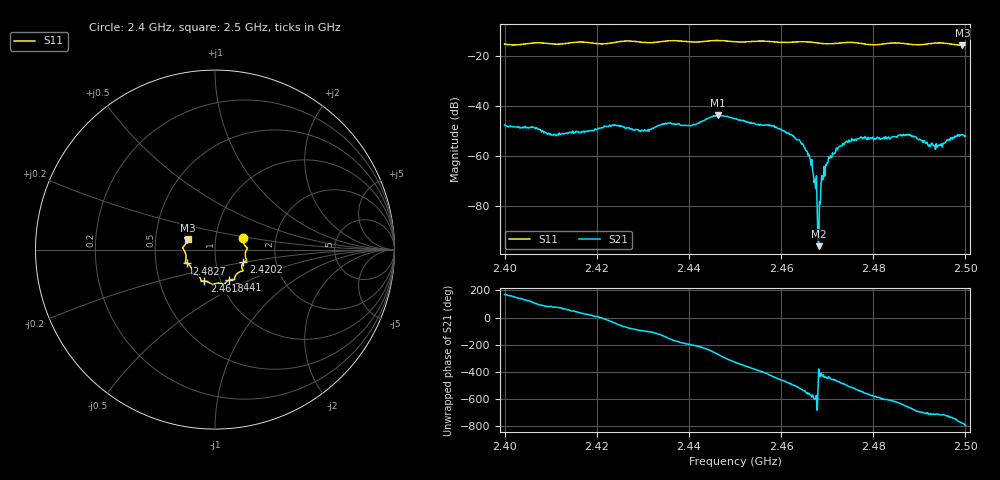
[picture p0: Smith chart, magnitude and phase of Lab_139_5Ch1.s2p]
# Hz S RI R 50
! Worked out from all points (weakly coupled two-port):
!   601 points, 2.4 GHz to 2.5 GHz, reference 50 ohm
!   highest |S21| = -43.64 dB at 2.4463 GHz (marker M1); lowest = -95.8 dB at 2.4682 GHz (marker M2)
!   lowest |S11| = -15.8 dB at 2.4993 GHz (marker M3), VSWR 1.39, Z = 36.5 + j3.82 ohm
!   |S11| at or under -10 dB: start of sweep to end of sweep
!   S12 and S22 are empty: the file has one direction only
!   S11 on the Smith chart (normalised r, x): 2.4 GHz: 1.36, +0.18; 2.4202 GHz: 1.36, -0.20; 2.441 GHz: 1.10, -0.39; 2.4618 GHz: 0.84, -0.30; 2.4827 GHz: 0.72, -0.11; 2.5 GHz: 0.73, +0.09
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2.4e9  0.1584 0.0626  -0.00412 0.000781  0 0  0 0
2.410667e9  0.1704 -0.0128  0.000571 0.00259  0 0  0 0
2.416667e9  0.1771 -0.061  0.00262 0.00157  0 0  0 0
2.420167e9  0.1586 -0.0712  0.00339 0.000384  0 0  0 0
2.433333e9  0.1115 -0.1508  -0.00217 -0.0035  0 0  0 0
2.441e9  0.0787 -0.1697  -0.00389 0.00172  0 0  0 0
2.446333e9  0.0492 -0.1954  2.78e-05 0.00658  0 0  0 0
2.45e9  0.0286 -0.1873  0.00478 0.0029  0 0  0 0
2.461833e9  -0.0592 -0.1754  -0.00148 -0.00228  0 0  0 0
2.4645e9  -0.0751 -0.1748  -0.00171 -0.000344  0 0  0 0
2.466667e9  -0.0787 -0.1683  -0.000607 0.000609  0 0  0 0
2.467667e9  -0.0808 -0.1617  -0.000345 0.000218  0 0  0 0
2.468167e9  -0.0829 -0.1581  1.54e-05 -4.98e-06  0 0  0 0
2.470167e9  -0.0967 -0.143  6.16e-05 -0.000738  0 0  0 0
2.4725e9  -0.117 -0.1349  -0.000562 -0.00144  0 0  0 0
2.477e9  -0.1271 -0.1243  -0.00228 3.59e-05  0 0  0 0
2.482667e9  -0.1558 -0.077  -0.00115 0.00218  0 0  0 0
2.483333e9  -0.1602 -0.0751  -0.00103 0.00219  0 0  0 0
2.487833e9  -0.1618 -0.0516  0.00135 0.00222  0 0  0 0
2.493667e9  -0.1795 0.00791  0.00174 0.000356  0 0  0 0
2.499333e9  -0.1541 0.0509  0.00147 -0.00225  0 0  0 0
2.5e9  -0.152 0.0607  0.000729 -0.00244  0 0  0 0
